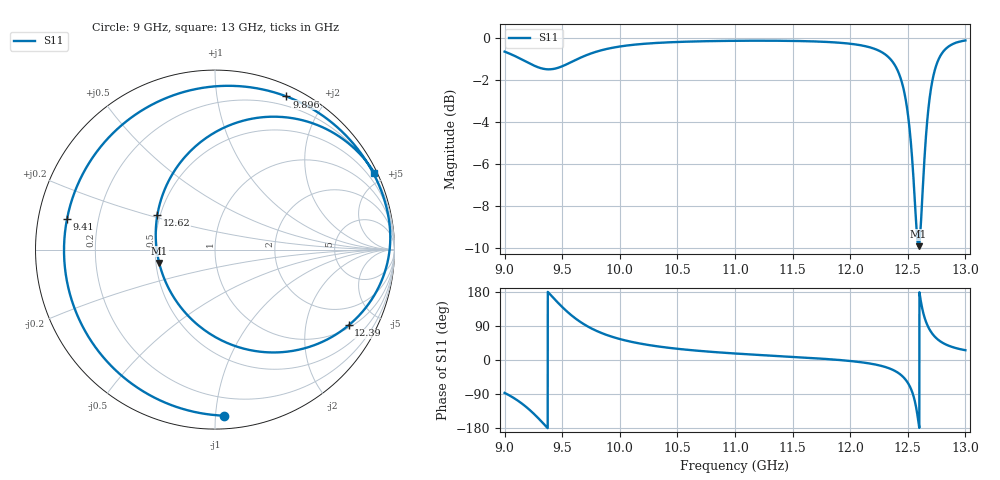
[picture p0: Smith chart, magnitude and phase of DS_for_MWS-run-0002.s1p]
! TOUCHSTONE file generated by CST DESIGN STUDIO
! Date and time: Tue Feb  4 18:17:51 2025
! Project name: C:\Work\MatlabApps\UnitCellOptimizationMatlab\CST\unitcell.cst
! Tree item: Tasks\Sweep1\SPara1\S-Parameters
! Header version: 2024
! Port assignment regex: !\s*Touchstone port\s*([0-9]+)\s*=\s*(CST MWS port|CST DES external port|CST DES block port)\s*(.+)\s* \(\"(.*)\"\)(\s*mode\s*([0-9]+))?.*
! Touchstone port assignment:
! Touchstone port 1 = CST DES external port 1 ("")
# GHz S MA R 50
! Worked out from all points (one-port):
!   4001 points, 9 GHz to 13 GHz, reference 50 ohm
!   lowest |S11| = -9.9 dB at 12.59 GHz (marker M1), VSWR 1.94, Z = 26 - j4.3 ohm
!   |S11| at or under -10 dB: nowhere
!   S11 on the Smith chart (normalised r, x): 9 GHz: 0.08, -1.05; 9.41 GHz: 0.09, +0.10; 9.896 GHz: 0.10, +1.56; 12.39 GHz: 1.10, -3.47; 12.62 GHz: 0.48, +0.22; 13 GHz: 0.15, +4.36
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9  0.9267 -86.8
9.11  0.8991 -106.2
9.203  0.8725 -127.9
9.316  0.8464 -161.0
9.41  0.8419 168.2
9.5  0.8554 139.9
9.579  0.8754 118.2
9.663  0.8976 99.4
9.778  0.923 79.7
9.896  0.9416 65.0
10  0.953 55.3
10.215  0.9675 41.3
10.5  0.9769 29.6
11  0.9833 17.2
11.5  0.9826 8.2
12  0.9675 -2.6
12.253  0.9305 -14.2
12.393  0.8556 -29.6
12.451  0.7792 -42.1
12.5  0.661 -60.1
12.549  0.4649 -94.6
12.594  0.3198 -166.6
12.617  0.3753 148.7
12.663  0.609 96.9
12.712  0.7871 69.7
12.763  0.883 53.5
12.822  0.9366 42.2
13  0.9851 25.8
